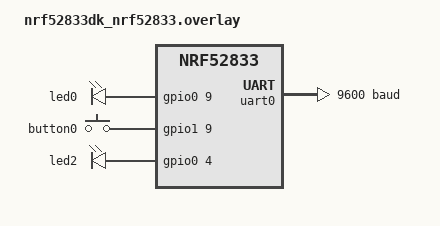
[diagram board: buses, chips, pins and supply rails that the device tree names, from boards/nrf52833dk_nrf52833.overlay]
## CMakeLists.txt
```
#
# Copyright (c) 2018 Nordic Semiconductor
#
# SPDX-License-Identifier: LicenseRef-Nordic-5-Clause
#
cmake_minimum_required(VERSION 3.20.0)

find_package(Zephyr REQUIRED HINTS $ENV{ZEPHYR_BASE})
project(NONE)

FILE(GLOB app_sources src/*.c)
target_sources(app PRIVATE ${app_sources})
```

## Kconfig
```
#
# Copyright (c) 2018 Nordic Semiconductor
#
# SPDX-License-Identifier: LicenseRef-Nordic-5-Clause
#

source "Kconfig.zephyr"

menu "Nordic UART BLE GATT service with beacon sample"

config FW_VERSION
	string "firmware version"
	default "1.0.0"
	help
	  Application firmware version. 

config BT_NUS_CRLF_UART_TERMINATION
	bool "Use CR or LF to terminate UART transactions"
	default y
	help
	  "Use CR or LF to terminate UART transactions. Disable to send data regardless after a timeout."

config BT_NUS_ADVERTISING_INTERVAL
	int "Advertising interval"
	default 500
	help
	  Advertising interval in milliseconds

config BT_NUS_THREAD_STACK_SIZE
	int "Thread stack size"
	default 1024
	help
	  Stack size used in each of the two threads

config BT_NUS_UART_BUFFER_SIZE
	int "UART payload buffer element size"
	default 40
	help
	  Size of the payload buffer in each RX and TX FIFO element

config BT_NUS_SECURITY_ENABLED
	bool "Enable security"
	default y
	select BT_SMP
	help
	  "Enable BLE security for the UART service"

config BT_NUS_UART_RX_WAIT_TIME
	int "Timeout for UART RX complete event"
	default 50000
	help
	  Wait for RX complete event time in microseconds

config BT_NUS_FIXED_PASSKEY
	int "Define the default passkey for NUS"
	depends on BT_FIXED_PASSKEY
	default 123456
	help
	  Define the default password for pairing with the Bluetooth LE device.

config SETTINGS
	default y

config ZMS
	default y if (SOC_FLASH_NRF_RRAM || SOC_FLASH_NRF_MRAM)

config NVS
	default y if !(SOC_FLASH_NRF_RRAM || SOC_FLASH_NRF_MRAM)

endmenu
```

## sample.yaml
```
sample:
  description: Bluetooth Low Energy UART service with beacon sample
  name: Bluetooth LE UART service with beacon
tests:
  sample.bluetooth.peripheral_uart:
    sysbuild: true
    build_only: true
    platform_allow: nrf54l15dk/nrf54l05/cpuapp nrf54l15dk/nrf54l10/cpuapp nrf54l15dk/nrf54l15/cpuapp
      nrf52833dk/nrf52833 nrf52840dk/nrf52840
```

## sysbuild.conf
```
#
# Copyright (c) 2024 Nordic Semiconductor
#
# SPDX-License-Identifier: LicenseRef-Nordic-5-Clause
#

SB_CONFIG_BOOTLOADER_MCUBOOT=y
SB_CONFIG_BOOT_SIGNATURE_TYPE_ECDSA_P256=y
SB_CONFIG_PM_OVERRIDE_EXTERNAL_DRIVER_CHECK=n
SB_CONFIG_PM_EXTERNAL_FLASH_MCUBOOT_SECONDARY=n

# SB_CONFIG_BOOT_SIGNATURE_TYPE_ED25519=y
# SB_CONFIG_MCUBOOT_SIGNATURE_USING_KMU=y
# SB_CONFIG_BOOT_SIGNATURE_TYPE_PURE=y
```

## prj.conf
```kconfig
#
# Copyright (c) 2018 Nordic Semiconductor
#
# SPDX-License-Identifier: LicenseRef-Nordic-5-Clause
#


CONFIG_FW_VERSION="1.3.1"
# Enable the UART driver
CONFIG_UART_ASYNC_API=y
CONFIG_NRFX_UARTE0=y
CONFIG_SERIAL=y
CONFIG_UART_USE_RUNTIME_CONFIGURE=y

CONFIG_GPIO=y

CONFIG_REBOOT=y

# Make sure printk is printing to the UART console
CONFIG_CONSOLE=y
CONFIG_UART_CONSOLE=y

CONFIG_HEAP_MEM_POOL_SIZE=10240

CONFIG_BT=y
CONFIG_BT_PERIPHERAL=y
CONFIG_BT_DEVICE_NAME="NB-nordic123"
CONFIG_BT_MAX_CONN=1
CONFIG_BT_MAX_PAIRED=16
CONFIG_BT_SMP_ALLOW_UNAUTH_OVERWRITE=y
CONFIG_BT_PHY_UPDATE=n
# CONFIG_BT_COMPANY_ID=0x0059
#Schneider Electric
CONFIG_BT_COMPANY_ID=0x02B6	


# Enable the NUS service
CONFIG_BT_NUS=y
CONFIG_BT_DEVICE_NAME_DYNAMIC=y
# Enable bonding
CONFIG_BT_SETTINGS=y
CONFIG_FLASH=y
CONFIG_FLASH_PAGE_LAYOUT=y
CONFIG_FLASH_MAP=y

# Enable DK LED and Buttons library
CONFIG_DK_LIBRARY=y

# This example requires more stack
CONFIG_MAIN_STACK_SIZE=2048
CONFIG_SYSTEM_WORKQUEUE_STACK_SIZE=4096

# mcuboot
CONFIG_BOOTLOADER_MCUBOOT=y
CONFIG_STREAM_FLASH=y
CONFIG_IMG_MANAGER=y
CONFIG_MCUBOOT_IMG_MANAGER=y
CONFIG_NCS_SAMPLE_MCUMGR_BT_OTA_DFU=y
# CONFIG_NCS_SAMPLE_MCUMGR_BT_OTA_DFU_SPEEDUP=y
# CONFIG_MCUMGR_GRP_ZBASIC_STORAGE_ERASE=n
CONFIG_MCUMGR_GRP_IMG_ALLOW_ERASE_PENDING=y
CONFIG_MCUMGR_TRANSPORT_BT_PERM_RW_AUTHEN=y


# Config logger
CONFIG_LOG=n
CONFIG_USE_SEGGER_RTT=y
CONFIG_LOG_BACKEND_RTT=y
CONFIG_LOG_BACKEND_UART=n
CONFIG_LOG_PRINTK=n

CONFIG_SEGGER_RTT_BUFFER_SIZE_UP=4096

# Disable boot banners to avoid anything printed on the UART that does not come over NUS
CONFIG_BOOT_BANNER=n
CONFIG_NCS_BOOT_BANNER=n

CONFIG_ASSERT=y

CONFIG_BT_BUF_ACL_RX_SIZE=502
CONFIG_BT_ATT_PREPARE_COUNT=2
CONFIG_BT_ATT_TX_COUNT=10
CONFIG_BT_L2CAP_TX_MTU=498
CONFIG_BT_L2CAP_DYNAMIC_CHANNEL=y
CONFIG_BT_CONN_TX_MAX=10
CONFIG_BT_BUF_ACL_TX_COUNT=10
CONFIG_BT_BUF_ACL_TX_SIZE=502


CONFIG_BT_NUS_AUTHEN=y
CONFIG_BT_FIXED_PASSKEY=y
CONFIG_BT_NUS_FIXED_PASSKEY=112233
CONFIG_BT_NUS_ADVERTISING_INTERVAL=500
CONFIG_BT_NUS_UART_BUFFER_SIZE=300
CONFIG_BT_CTLR_TX_PWR_PLUS_7=y
CONFIG_BT_NUS_CRLF_UART_TERMINATION=n
CONFIG_BT_CTLR_CONN_RSSI=y
CONFIG_BT_CTLR_TX_PWR_DYNAMIC_CONTROL=y
CONFIG_BT_TINYCRYPT_ECC=n 
CONFIG_BT_CTLR_ECDH=n
# CONFIG_BT_CTLR_ADVANCED_FEATURES=y

CONFIG_CLOCK_CONTROL_NRF_K32SRC_RC=y      
CONFIG_CLOCK_CONTROL_NRF_K32SRC_XTAL=n   
CONFIG_CLOCK_CONTROL_NRF_K32SRC_RC_CALIBRATION=y 


# CONFIG_CLOCK_CONTROL_NRF_K32SRC_RC=y      
# CONFIG_CLOCK_CONTROL_NRF_K32SRC_XTAL=n   
# CONFIG_CLOCK_CONTROL_NRF_K32SRC_RC_CALIBRATION=y 
```

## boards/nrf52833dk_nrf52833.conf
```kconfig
#
# Copyright (c) 2024 Nordic Semiconductor
#
# SPDX-License-Identifier: LicenseRef-Nordic-5-Clause
#
CONFIG_CLOCK_CONTROL_NRF_K32SRC_RC=y      
CONFIG_CLOCK_CONTROL_NRF_K32SRC_XTAL=n   
CONFIG_CLOCK_CONTROL_NRF_K32SRC_RC_CALIBRATION=y 
```

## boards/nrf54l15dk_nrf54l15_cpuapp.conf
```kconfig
#
# Copyright (c) 2024 Nordic Semiconductor
#
# SPDX-License-Identifier: LicenseRef-Nordic-5-Clause
#

# Disable the unspupported UART0 driver
CONFIG_NRFX_UARTE0=n

# nRF54L DK uses UART for logs.
CONFIG_SERIAL=y
CONFIG_CONSOLE=y
CONFIG_UART_CONSOLE=y

CONFIG_LOG=y
CONFIG_LOG_BACKEND_UART=y
CONFIG_LOG_BACKEND_SHOW_COLOR=n
CONFIG_LOG_BACKEND_FORMAT_TIMESTAMP=n
CONFIG_LOG_MODE_DEFERRED=y
CONFIG_LOG_PRINTK=y
CONFIG_LOG_BUFFER_SIZE=4096
CONFIG_LOG_PROCESS_THREAD_STACK_SIZE=1024
```

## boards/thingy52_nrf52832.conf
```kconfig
CONFIG_HEAP_MEM_POOL_SIZE=3072
# This example requires more stack
CONFIG_MAIN_STACK_SIZE=2048
CONFIG_SYSTEM_WORKQUEUE_STACK_SIZE=2048

#disable the log
CONFIG_LOG=n
CONFIG_LOG_BACKEND_UART=n
CONFIG_USE_SEGGER_RTT=n
```

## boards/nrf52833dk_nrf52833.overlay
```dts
/*
 * Copyright (c) 2024 Nordic Semiconductor ASA
 *
 * SPDX-License-Identifier: LicenseRef-Nordic-5-Clause
 */

 / {
	chosen {
		nordic,nus-uart = &uart0;
	};
};

&uart0 {
	current-speed = <9600>;
};

&uart0_default {
	/* Disconnect CTS and RTS lines from pins.
	 * This is a temporary workaround for increased current consumption
	 * observed on nRF52840 v3.0.0 only (~450 uA more then on v2.1.0).
	 */
	group1 {
		psels = <NRF_PSEL(UART_TX, 0, 17)>,
			<NRF_PSEL_DISCONNECTED(UART_RTS)>;
	};
	group2 {
		psels = <NRF_PSEL(UART_RX, 0, 15)>,
			<NRF_PSEL_DISCONNECTED(UART_CTS)>;
	};
};

&uart0_sleep {
	group1 {
		psels = <NRF_PSEL(UART_TX, 0, 17)>,
			<NRF_PSEL(UART_RX, 0, 15)>;
		low-power-enable;
	};
};

&led0 {
	gpios = <&gpio0 9 0>;
};

&button0 {
	gpios = <&gpio1 9 0>;
};

&reg1 {
	zephyr,deferred-init;
	regulator-initial-mode = <NRF5X_REG_MODE_LDO>;
};

&led2 {
	gpios = <&gpio0 4 0>;
};
```

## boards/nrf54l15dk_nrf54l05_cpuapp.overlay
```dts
/*
 * Copyright (c) 2024 Nordic Semiconductor ASA
 *
 * SPDX-License-Identifier: LicenseRef-Nordic-5-Clause
 */

 / {
	chosen {
		nordic,nus-uart = &uart30;
		zephyr,shell-uart = &uart20;
		zephyr,console = &uart20;
		zephyr,uart-mcumgr = &uart20;
		zephyr,bt-mon-uart = &uart20;
		zephyr,bt-c2h-uart = &uart20;
	};
};


&uart30 {
	status = "okay";
	current-speed = <9600>;
	pinctrl-0 = <&uart30_default>;
	pinctrl-1 = <&uart30_sleep>;
	pinctrl-names = "default", "sleep";
	/delete-property/ hw-flow-control;
};

// &uart20 {
// 	current-speed = <9600>;
// 	status = "okay";
// };
```

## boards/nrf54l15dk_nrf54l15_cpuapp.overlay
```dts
/*
 * Copyright (c) 2024 Nordic Semiconductor ASA
 *
 * SPDX-License-Identifier: LicenseRef-Nordic-5-Clause
 */

/ {
	chosen {
		nordic,nus-uart = &uart20;
		zephyr,shell-uart = &uart30;
		zephyr,console = &uart30;
		zephyr,uart-mcumgr = &uart30;
		zephyr,bt-mon-uart = &uart30;
		zephyr,bt-c2h-uart = &uart30;
	};
};


&uart30 {
	status = "okay";
	current-speed = <115200>;
	pinctrl-0 = <&uart30_default>;
	pinctrl-1 = <&uart30_sleep>;
	pinctrl-names = "default", "sleep";
	/delete-property/ hw-flow-control;
};


&uart20 {
	current-speed = <9600>;
};
```

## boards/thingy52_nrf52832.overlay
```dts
/*
 * Copyright (c) 2024 Nordic Semiconductor ASA
 *
 * SPDX-License-Identifier: LicenseRef-Nordic-5-Clause
 */

/ {
	chosen {
		nordic,nus-uart = &uart0;
	};
};

&uart0 {
	current-speed = <9600>;
};
```

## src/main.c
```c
/*
 * Copyright (c) 2025 Nordic Semiconductor ASA
 *
 * SPDX-License-Identifier: LicenseRef-Nordic-5-Clause
 */

/** @file
 *  @brief Nordic UART Bridge Service (NUS) with beacon sample
 */
// #include <uart_async_adapter.h>

#include <zephyr/types.h>
#include <zephyr/kernel.h>
#include <zephyr/device.h>
#include <zephyr/devicetree.h>
#include <soc.h>
#include <stdio.h>
#include <string.h>
#include <zephyr/logging/log.h>

#include "ble_app.h"
#include "uart_app.h"
#include "nus_setting_app.h"

LOG_MODULE_REGISTER(peripheral_uart);


#define STACKSIZE 						2048
#define PRIORITY 						7

#define RUN_STATUS_LED 					DK_LED1
#define RUN_LED_BLINK_INTERVAL 			1000

#define NUS_TRANSPARENT_MODE 			DK_BTN1_MSK
#define KEY_PASSKEY_REJECT 				DK_BTN2_MSK


struct k_work transparent_buffer_work;

void error(void)
{
	LOG_ERR("Panic!");

	while (true) {
		/* Spin for ever */
		k_sleep(K_MSEC(1000));
	}
}


static void button_changed(uint32_t button_state, uint32_t has_changed)
{
	uint32_t buttons = button_state & has_changed;

	if (buttons & NUS_TRANSPARENT_MODE) {
		/* On button press */
		transparent_flag = false;
		k_work_submit(&transparent_buffer_work);
	}
	else
	{
		/* On button press */
		if(!transparent_flag)
		{
			transparent_flag = true;
			k_work_submit(&transparent_buffer_work);
		}
	}
}

static void configure_gpio(void)
{
	int err;

	err = dk_buttons_init(button_changed);
	if (err) {
		LOG_ERR("Cannot init buttons (err: %d)", err);
	}

	err = dk_leds_init();
	if (err) {
		LOG_ERR("Cannot init LEDs (err: %d)", err);
	}
}


static void handle_nus_buffer_data(struct k_work *work)
{
	
	// if(transparent_flag && is_ble_paired())
	if(transparent_flag)
	{
		uart_send_URC(BLE_ENTER_TRANSPARENT_MODE_URC, BLE_URC_LENGTH);
		// uart_send_data(NULL);
	}
	else
	{
		uart_send_URC(BLE_EXIT_TRANSPARENT_MODE_URC, BLE_URC_LENGTH);
	}

	// ble disconnect, clean the transparent buffer data
	if(is_ble_paired() == false)
	{
		clean_nus_buffer_data();
	}
}


int main(void)
{
	int blink_status = 0;
	int err = 0;

	LOG_INF("NUS Beacon sample started, the version is %s", CONFIG_FW_VERSION);

	configure_gpio();

	nus_settings_init();

	err = uart_init();
	if (err) {
		error();
	}

	err = nus_ble_init();
	if (err) {
		error();
	}

	k_work_init(&transparent_buffer_work, handle_nus_buffer_data);

	for (;;) {
		dk_set_led(RUN_STATUS_LED, (++blink_status) % 2);
		k_sleep(K_MSEC(RUN_LED_BLINK_INTERVAL));
	}
}



void ble_write_thread(void)
{
	/* Don't go any further until BLE is initialized */
	k_sem_take(&ble_init_ok, K_FOREVER);

	// int ret = 0;
	// nus_data_t send_packet = {0};
	// static uint8_t resend_count = 0;
	struct uart_data_t uart_data = {
		.len = 0,
	};

	for (;;) 
	{
		/* Wait 300 for data from UART to be processed */
		struct uart_data_t *buf = k_fifo_get(&fifo_uart_rx_data, K_FOREVER);
		if(buf)
		{
			int plen = MIN(sizeof(uart_data.data) - uart_data.len, buf->len);
			int loc = 0;

			while (plen > 0) {
				memcpy(&uart_data.data[uart_data.len], &buf->data[loc], plen);
				uart_data.len += plen;
				loc += plen;
	#ifdef CONFIG_BT_NUS_CRLF_UART_TERMINATION
				if (uart_data.len >= sizeof(uart_data.data) ||
				(uart_data.data[uart_data.len - 1] == '\n') ||
				(uart_data.data[uart_data.len - 1] == '\r')) {
	#endif
					if(!transparent_flag)
					{
						handle_uart_data(&uart_data);		//handle uart command from host mcu
					}
					else
					{
						// on_packet_nus_data(uart_data.data, uart_data.len);
						ble_send_uart_data(uart_data.data, uart_data.len);
					}
					
					uart_data.len = 0;
	#ifdef CONFIG_BT_NUS_CRLF_UART_TERMINATION
				}
	#endif
				plen = MIN(sizeof(uart_data.data), buf->len - loc);
			}

			k_free(buf);
		}

		/* check if there are data need to be sent over bluetooth */
		// if (k_msgq_peek(&tx_send_queue, &send_packet) == 0)  
		// {
		// 	// LOG_INF("[%d]:%s\n",send_packet.length, send_packet.data);
		// 	ret = ble_send_uart_data(&send_packet);
		// 	// ret = uart_send_data(tx);
		// 	if(0 == ret)
		// 	{
		// 		/* send successfully, delete the queue message and free memory */
		// 		k_msgq_get(&tx_send_queue, &send_packet, K_NO_WAIT);
		// 		k_free(send_packet.data);
		// 		resend_count = 0;
		// 		// LOG_HEXDUMP_INF(send_packet.data, send_packet.length, "NUS send:\n");
		// 	}
		// 	else if(ret == -ENOTCONN)
		// 	{
		// 		// LOG_WRN("BLE is not connected, we need to reconnect it\n");
		// 	}
		// 	else
		// 	{
		// 		if(resend_count++ >= 3)
		// 		{
		// 			/* send failed, we need to wait more time */
		// 			LOG_WRN("BLE send failed, will resend it.\n");
		// 		}
		// 	}
		// }
	}
}

K_THREAD_DEFINE(ble_write_thread_id, STACKSIZE, ble_write_thread, NULL, NULL,
		NULL, PRIORITY, 0, 0);
```

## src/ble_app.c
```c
#include <zephyr/bluetooth/bluetooth.h>
#include <zephyr/bluetooth/uuid.h>
#include <zephyr/bluetooth/gatt.h>
#include <zephyr/bluetooth/hci.h>
#include <bluetooth/services/nus.h>
#include <zephyr/settings/settings.h>
#include <bluetooth/services/nus.h>
#include <zephyr/sys/byteorder.h>
#include <zephyr/kernel.h>
#include <zephyr/logging/log.h>
#include <zephyr/types.h>
#include <zephyr/bluetooth/hci_vs.h>

#include "ble_app.h"
#include "uart_app.h"
#include "nus_setting_app.h"
#include "error_code.h"

LOG_MODULE_DECLARE(peripheral_uart);


#define NUS_THREAD_STACK_SIZE               4096
#define NUS_THREAD_PRIORITY 				7

#define TX_QUEUE_COUNT						20

K_SEM_DEFINE(ble_init_ok, 0, 1);

static struct bt_conn *auth_conn;
static struct k_work advertise_start_work;

static bt_addr_le_t bond_addr;

bool name_changed = false;

struct bt_conn *current_conn;

uint8_t manuf_size = 0;
unsigned int cur_passkey = CONFIG_BT_NUS_FIXED_PASSKEY;
int8_t last_rssi = 0;

char device_name[MAX_NAME_LEN+1] = DEVICE_NAME;
uint8_t dynamic_manuf_data[DYNAMIC_MANUF_DATA_SIZE + COMPANY_ID_SIZE] = 
	{CONFIG_BT_COMPANY_ID & 0xFF, CONFIG_BT_COMPANY_ID >> 8};

static const struct bt_data ad[] = {
	BT_DATA_BYTES(BT_DATA_FLAGS, (BT_LE_AD_GENERAL | BT_LE_AD_NO_BREDR)),
	BT_DATA_BYTES(BT_DATA_UUID128_ALL, BT_UUID_NUS_VAL),
	BT_DATA(BT_DATA_NAME_COMPLETE, device_name, DEVICE_NAME_LEN),
};


// static struct bt_data sd[] = {
// 	BT_DATA(BT_DATA_NAME_COMPLETE, device_name, DEVICE_NAME_LEN),
// 	BT_DATA(BT_DATA_MANUFACTURER_DATA, dynamic_manuf_data, sizeof(dynamic_manuf_data)),
// };

static void advertise_start_without_sd(struct k_work *work)
{
	int err;
	struct bt_le_adv_param adv_params = *(BT_LE_ADV_CONN_ONE_TIME);
	adv_params.interval_min = CONFIG_BT_NUS_ADVERTISING_INTERVAL;
	adv_params.interval_max = CONFIG_BT_NUS_ADVERTISING_INTERVAL; 

	if (manuf_size > 0) {
		uint8_t name_len = MIN(strlen(device_name), MAX_NAME_LEN);

		struct bt_data new_ad[] = {
			BT_DATA(BT_DATA_NAME_COMPLETE, device_name, name_len),
			BT_DATA(BT_DATA_MANUFACTURER_DATA, dynamic_manuf_data, manuf_size + COMPANY_ID_SIZE),
		};
		err = bt_le_adv_start(&adv_params, new_ad, ARRAY_SIZE(new_ad), NULL, 0);
	}
	else
	{
		if(name_changed)
		{
			uint8_t name_len = MIN(strlen(device_name), MAX_NAME_LEN);

			struct bt_data new_ad[] = {
				BT_DATA(BT_DATA_NAME_COMPLETE, device_name, name_len),
				// BT_DATA(BT_DATA_MANUFACTURER_DATA, dynamic_manuf_data, manuf_size + COMPANY_ID_SIZE),
			};
			err = bt_le_adv_start(&adv_params, new_ad, ARRAY_SIZE(new_ad), NULL, 0);
		}
		else
		{
			err = bt_le_adv_start(&adv_params, ad, ARRAY_SIZE(ad), NULL, 0);
		}
	}

	if (err) {
		LOG_ERR("Advertising failed to start (err %d)", err);
		return;
	}

	set_device_status(STATUS_ADVERTISING, 1);    //set the device status to advertising

	LOG_INF("Advertising successfully started");
}


int update_adv_param(uint8_t interval)
{
	int err;
	struct bt_le_adv_param adv_params = *(BT_LE_ADV_CONN_ONE_TIME);
	adv_params.interval_min = 32*interval;
	adv_params.interval_max = 32*interval; 

	err = bt_le_adv_stop();
	if (err != 0) {
		LOG_ERR("Cannot stop advertisement: err = %d\n", err);
		return err;
	}

	if (manuf_size > 0) {
		uint8_t name_len = MIN(strlen(device_name), MAX_NAME_LEN);

		struct bt_data new_ad[] = {
			BT_DATA(BT_DATA_NAME_COMPLETE, device_name, name_len),
			BT_DATA(BT_DATA_MANUFACTURER_DATA, dynamic_manuf_data, manuf_size + COMPANY_ID_SIZE),
		};
		err = bt_le_adv_start(&adv_params, new_ad, ARRAY_SIZE(new_ad), NULL, 0);
	}
	else
	{
		if(name_changed)
		{
			uint8_t name_len = MIN(strlen(device_name), MAX_NAME_LEN);

			struct bt_data new_ad[] = {
				BT_DATA(BT_DATA_NAME_COMPLETE, device_name, name_len),
				// BT_DATA(BT_DATA_MANUFACTURER_DATA, dynamic_manuf_data, manuf_size + COMPANY_ID_SIZE),
			};
			err = bt_le_adv_start(&adv_params, new_ad, ARRAY_SIZE(new_ad), NULL, 0);
		}
		else
		{
			err = bt_le_adv_start(&adv_params, ad, ARRAY_SIZE(ad), NULL, 0);
		}
	}

	if (err) {
		LOG_ERR("Advertising failed to start (err %d)", err);
	}
	return err;

	set_device_status(STATUS_ADVERTISING, 1);    //set the device status to advertising

	LOG_INF("Advertising successfully started");
}



int start_stop_advertise(uint8_t cmd)
{
	int err = 0;
	// LOG_INF("Advertising cmd is:%d\n", cmd);
	if (cmd) 
	{
		if(!is_ble_advertising())
		{
			k_work_submit(&advertise_start_work);
		}
		else
		{
			return 0;
		}
	} 
	else 
	{
		if(is_ble_advertising())
		{
			err = bt_le_adv_stop();
			if (!err) {
				set_device_status(STATUS_ADVERTISING, 0);    //clean the advertising status
			}
			else
			{
				LOG_ERR("Failed to stop advertising: %d", err);
			}
		}
		else
		{
			return 0;
		}
	}
	return err;
}


static void copy_last_bonded_addr(const struct bt_bond_info *info, void *user_data)
{
	int *bond_cnt = user_data;

	if ((*bond_cnt) < 0) {
		return;
	}

	(*bond_cnt)++;
	bt_addr_le_copy(&bond_addr, &info->addr);
}



static int list_bond_device(void)
{
	int bond_cnt = 0;

	bt_foreach_bond(BT_ID_DEFAULT, copy_last_bonded_addr, &bond_cnt);

	return bond_cnt;
}


int get_last_bonded_addr(uint8_t *addr)
{
	uint8_t cnt = list_bond_device();
	if(cnt)
	{
		memcpy(addr, bond_addr.a.val, sizeof(bond_addr.a.val));
		LOG_INF("Last bonded addr: %02x:%02x:%02x:%02x:%02x:%02x", addr[0], addr[1], addr[2], addr[3], addr[4], addr[5]);
		return 0;
	}
	else
	{
		memset(bond_addr.a.val, 0,  sizeof(bond_addr.a.val));
		LOG_ERR("No bonded device found\n");
	}
	
	return 0;
}



static void connected(struct bt_conn *conn, uint8_t err)
{
	char addr[BT_ADDR_LE_STR_LEN];
	int8_t rssi;

	if (err) {
		LOG_ERR("Connection failed, err 0x%02x %s", err, bt_hci_err_to_str(err));
		return;
	}

	bt_addr_le_to_str(bt_conn_get_dst(conn), addr, sizeof(addr));
	LOG_INF("Connected %s", addr);

	current_conn = bt_conn_ref(conn);
	read_conn_rssi(&rssi);

	dk_set_led_on(CON_STATUS_LED);

	// uart_send_URC("CONNECTED", strlen("CONNECTED"));
	if(!transparent_flag)
	{
		uart_send_URC(BLE_CONNECTED_URC, BLE_URC_LENGTH);
	}
	
	set_device_status(STATUS_CONNECTED, 1);    //set the device status to connected
	set_device_status(STATUS_ADVERTISING, 0);    //clean the advertising status
}


extern struct k_work transparent_buffer_work;
static void disconnected(struct bt_conn *conn, uint8_t reason)
{
	char addr[BT_ADDR_LE_STR_LEN];

	bt_addr_le_to_str(bt_conn_get_dst(conn), addr, sizeof(addr));

	LOG_INF("Disconnected: %s, reason 0x%02x %s", addr, reason, bt_hci_err_to_str(reason));

	if (auth_conn) {
		bt_conn_unref(auth_conn);
		auth_conn = NULL;
	}


	if (current_conn) {
		bt_conn_unref(current_conn);
		current_conn = NULL;
		dk_set_led_off(CON_STATUS_LED);
	}
	
	// uart_send_URC("DISCONNECTED", strlen("DISCONNECTED"));
	uart_send_URC(BLE_DISCONNECTED_URC, BLE_URC_LENGTH);
	set_device_status(STATUS_CONNECTED | STATUS_PAIRED, 0);    //set the device status to disconnected
	erase_bond_peer();
	k_work_submit(&transparent_buffer_work);
}


#ifdef CONFIG_BT_NUS_SECURITY_ENABLED
static void security_changed(struct bt_conn *conn, bt_security_t level,
			     enum bt_security_err err)
{
	char addr[BT_ADDR_LE_STR_LEN];

	bt_addr_le_to_str(bt_conn_get_dst(conn), addr, sizeof(addr));

	if (!err) {
		// uart_send_URC(BLE_PAIRED_URC, BLE_URC_LENGTH);
		set_device_status(STATUS_PAIRED, 1);    //set the device status to paired and bonded
		LOG_INF("Security changed: %s level %u", addr, level);
	} else {
		LOG_WRN("Security failed: %s level %u err %d %s", addr, level, err,
			bt_security_err_to_str(err));
	}
}
#endif

static void on_conn_recycled(void)
{
	k_work_submit(&advertise_start_work);
}

BT_CONN_CB_DEFINE(conn_callbacks) = {
	.connected    = connected,
	.disconnected = disconnected,
	.recycled     = on_conn_recycled,
#ifdef CONFIG_BT_NUS_SECURITY_ENABLED
	.security_changed = security_changed,
#endif
};

#if defined(CONFIG_BT_NUS_SECURITY_ENABLED)
// static void auth_passkey_entry(struct bt_conn *conn)
// {
//     char addr[BT_ADDR_LE_STR_LEN];
//     bt_addr_le_to_str(bt_conn_get_dst(conn), addr, sizeof(addr));

//     LOG_INF("Passkey entered %s: %06u", addr, passkey);
// }

static void auth_passkey_display(struct bt_conn *conn, unsigned int passkey)
{
	char addr[BT_ADDR_LE_STR_LEN];

	bt_addr_le_to_str(bt_conn_get_dst(conn), addr, sizeof(addr));
	cur_passkey = passkey;
	LOG_INF("Passkey for %s: %06u", addr, passkey);
}

// static void auth_passkey_confirm(struct bt_conn *conn, unsigned int passkey)
// {
// 	char addr[BT_ADDR_LE_STR_LEN];

// 	auth_conn = bt_conn_ref(conn);

// 	bt_addr_le_to_str(bt_conn_get_dst(conn), addr, sizeof(addr));

// 	LOG_INF("Passkey for %s: %06u", addr, passkey);
// }

static void auth_cancel(struct bt_conn *conn)
{
	char addr[BT_ADDR_LE_STR_LEN];

	bt_addr_le_to_str(bt_conn_get_dst(conn), addr, sizeof(addr));

	LOG_INF("Pairing cancelled: %s", addr);
}


static void pairing_complete(struct bt_conn *conn, bool bonded)
{
	char addr[BT_ADDR_LE_STR_LEN];

	bt_addr_le_to_str(bt_conn_get_dst(conn), addr, sizeof(addr));

	uart_send_URC(BLE_PAIRED_URC, BLE_URC_LENGTH);
	if(bonded)
		set_device_status(STATUS_PAIRED | STATUS_BONDED, 1);    //set the device status to paired and bonded
	else
		set_device_status(STATUS_PAIRED, 1);    //set the device status to paired

	LOG_INF("Pairing completed: %s, bonded: %d", addr, bonded);
}



static void pairing_failed(struct bt_conn *conn, enum bt_security_err reason)
{
	char addr[BT_ADDR_LE_STR_LEN];

	bt_addr_le_to_str(bt_conn_get_dst(conn), addr, sizeof(addr));

	LOG_INF("Pairing failed conn: %s, reason %d %s", addr, reason,
		bt_security_err_to_str(reason));

}

static struct bt_conn_auth_cb conn_auth_callbacks = {
	.passkey_display = auth_passkey_display,
	// .passkey_confirm = auth_passkey_confirm,
	.cancel = auth_cancel,
};

static struct bt_conn_auth_info_cb conn_auth_info_callbacks = {
	.pairing_complete = pairing_complete,
	.pairing_failed = pairing_failed
};

int bt_passkey_entry(unsigned int passkey)
{
	// return bt_conn_auth_passkey_entry(current_conn, passkey);
	return bt_passkey_set(passkey);
}
#else
static struct bt_conn_auth_cb conn_auth_callbacks;
static struct bt_conn_auth_info_cb conn_auth_info_callbacks;
#endif

static void bt_receive_cb(struct bt_conn *conn, const uint8_t *const data,
			  uint16_t len)
{
	char addr[BT_ADDR_LE_STR_LEN] = {0};

	bt_addr_le_to_str(bt_conn_get_dst(conn), addr, ARRAY_SIZE(addr));

	LOG_INF("Received data from: %s", addr);

	for (uint16_t pos = 0; pos != len;) {
		struct uart_data_t *tx = k_malloc(sizeof(*tx));

		if (!tx) {
			LOG_WRN("Not able to allocate UART send data buffer");
			return;
		}

		/* Keep the last byte of TX buffer for potential LF char. */
		size_t tx_data_size = sizeof(tx->data) - 1;

		if ((len - pos) > tx_data_size) {
			tx->len = tx_data_size;
		} else {
			tx->len = (len - pos);
		}

		memcpy(tx->data, &data[pos], tx->len);

		pos += tx->len;

		/* Append the LF character when the CR character triggered
		 * transmission from the peer.
		 */
		if ((pos == len) && (data[len - 1] == '\r')) {
			tx->data[tx->len] = '\n';
			tx->len++;
		}

		if(transparent_flag)
		{
			uart_send_data(tx);
		}
		else
		{
			uart_buffer_data(tx);
		}
	}
}

static struct bt_nus_cb nus_cb = {
	.received = bt_receive_cb,
};


bool is_ble_paired(void)
{
	if (get_device_status() & STATUS_PAIRED) {
		return true;
	}
	else
	{
		return false;
	}
}


bool is_ble_advertising(void)
{
	if (get_device_status() & STATUS_ADVERTISING) {
		return true;
	}
	else
	{
		return false;
	}
}


int update_advertising(void)
{
	int err = 0;
	uint8_t name_len = MIN(strlen(device_name), MAX_NAME_LEN);

	if (manuf_size > 0) 
	{
		manuf_size = MIN(DYNAMIC_MANUF_DATA_SIZE - strlen(device_name), manuf_size);
		struct bt_data new_ad[] = {
			BT_DATA(BT_DATA_NAME_COMPLETE, device_name, name_len),
			BT_DATA(BT_DATA_MANUFACTURER_DATA, dynamic_manuf_data, manuf_size + COMPANY_ID_SIZE),
		};
		err = bt_le_adv_update_data(new_ad, ARRAY_SIZE(new_ad), NULL, 0);
		LOG_INF("Update advertise payload[%d]: %s\n", manuf_size, dynamic_manuf_data + COMPANY_ID_SIZE);
	}
	else
	{
		struct bt_data new_ad[] = {
			BT_DATA(BT_DATA_NAME_COMPLETE, device_name, name_len),
			// BT_DATA(BT_DATA_MANUFACTURER_DATA, dynamic_manuf_data, manuf_size + COMPANY_ID_SIZE),
		};
		err = bt_le_adv_update_data(new_ad, ARRAY_SIZE(new_ad), NULL, 0);
	}

	return err;
}


int ble_send_uart_data(uint8_t *buffer, uint16_t length)
{
	int err = 0;

	if (is_ble_paired()) 
	{
		/* In a connection - send data via NUS */
		err = bt_nus_send(NULL, buffer, length);
		if (err) {
			LOG_WRN("Failed to send data over BLE connection: %d", err);
		}
		else
		{
			LOG_HEXDUMP_INF(buffer, length, "NUS send:\n");
		}
	} 
	else 
	{
		err = -ENOTCONN;
		LOG_WRN("Not in a connection, drop data!");
	}

	return err;
}


int disconnect_ble(void)
{ 
	int err = 0;
	if (current_conn) {
		err = bt_conn_disconnect(current_conn, BT_HCI_ERR_REMOTE_USER_TERM_CONN);
		if (err) {
			LOG_ERR("Failed to disconnect Bluetooth link (err %d)\n", err);
		}
	}
	else
	{
		err = -ENOTCONN;
	}
	return err;
}

int set_ble_device_name(char *name)
{
	int err = 0;
	if (strlen(name) > MAX_NAME_LEN) {
		LOG_WRN("Device name too long. Max length is 15 characters.");
		err = -EINVAL;
	}

	LOG_INF("Device name set to: %s", name);
	name_changed = true;
	err = bt_set_name(name);
	
	return err;
}

#if 1
int set_ble_mac_address(uint8_t  *val, uint8_t len)
{
	if (len != BT_ADDR_SIZE) {
		LOG_WRN("Invalid passkey length");
		return -EINVAL;
	}

	bt_addr_le_t custom_addr = {
		.type = BT_ADDR_LE_RANDOM,
	};
	memcpy(custom_addr.a.val, val, sizeof(custom_addr.a.val));

	int err = bt_id_create(&custom_addr, NULL);
	if (err) {
		LOG_ERR("Failed to set custom MAC address (err %d)\n", err);
	}
	return err;
}
#else
int set_ble_mac_address(uint8_t  *val, uint8_t len)
{
	if (len != BT_ADDR_SIZE) {
		LOG_WRN("Invalid passkey length");
		return -EINVAL;
	}

	int err = 0;
	struct net_buf *buf;
	struct bt_hci_cp_vs_write_bd_addr *cp;

	buf = bt_hci_cmd_create(BT_HCI_OP_VS_WRITE_BD_ADDR, sizeof(*cp));
	if (!buf) {
		return -ENOBUFS;
	}

	cp = net_buf_add(buf, sizeof(*cp));
	memcpy(cp->bdaddr.val, val, BT_ADDR_SIZE);

	err = bt_hci_cmd_send_sync(BT_HCI_OP_VS_WRITE_BD_ADDR, buf, NULL);
	if (err) {
		LOG_ERR("Failed to set custom MAC address (err %d)\n", err);
		return err;
	}

	err = bt_setup_public_id_addr();
	if (err) {
		LOG_ERR("Failed to set public address (err %d)\n", err);
		return err;
	}

	return err;
}
#endif

// int set_ble_parameter()
int set_ble_tx_power(int8_t tx_pwr_lvl)
{
	struct net_buf *buf, *rsp = NULL;
	struct bt_hci_cp_vs_write_tx_power_level *cp;
	struct bt_hci_rp_vs_write_tx_power_level *rp;

    int16_t err;
	uint16_t cur_handle = 0;

    buf = bt_hci_cmd_create(BT_HCI_OP_VS_WRITE_TX_POWER_LEVEL, sizeof(*cp));
    if (!buf) {
        LOG_ERR("Unable to allocate command buffer\n");
        return -ENOBUFS;
    }

    cp = net_buf_add(buf, sizeof(*cp));
    cp->handle = sys_cpu_to_le16(cur_handle);
	cp->handle_type = BT_HCI_VS_LL_HANDLE_TYPE_ADV;
	cp->tx_power_level = tx_pwr_lvl;

    err = bt_hci_cmd_send_sync(BT_HCI_OP_VS_WRITE_TX_POWER_LEVEL, buf, &rsp);
    if (err) {
        LOG_ERR("Set Tx power to <%d> err: %d\n", tx_pwr_lvl,err);
        return err;
    }

    rp = (void *)rsp->data;
    LOG_INF("Actual Tx Power: %d\n", rp->selected_tx_power);

    net_buf_unref(rsp);
	return err;
}


int get_ble_tx_power(int8_t *tx_pwr_lvl)
{
	struct bt_hci_cp_vs_read_tx_power_level *cp;
	struct bt_hci_rp_vs_read_tx_power_level *rp;
	struct net_buf *buf, *rsp = NULL;
	int err = 0;
	uint16_t cur_handle = 0;

	*tx_pwr_lvl = 0xFF;
	buf = bt_hci_cmd_create(BT_HCI_OP_VS_READ_TX_POWER_LEVEL,
				sizeof(*cp));
	if (!buf) {
		LOG_ERR("Unable to allocate command buffer\n");
		return ENOBUFS;
	}

	cp = net_buf_add(buf, sizeof(*cp));
	cp->handle = sys_cpu_to_le16(cur_handle);
	cp->handle_type = BT_HCI_VS_LL_HANDLE_TYPE_ADV;

	err = bt_hci_cmd_send_sync(BT_HCI_OP_VS_READ_TX_POWER_LEVEL,
				   buf, &rsp);
	if (err) {
		LOG_ERR("Read Tx power err: %d\n", err);
		return err;
	}

	rp = (void *)rsp->data;
	*tx_pwr_lvl = rp->tx_power_level;

	net_buf_unref(rsp);
	return err;
}


int get_ble_mac_address(uint8_t *val)
{
	bt_addr_le_t addrs[CONFIG_BT_ID_MAX];
	size_t count = CONFIG_BT_ID_MAX;

	bt_id_get(addrs, &count);
	if (count > 0) {
		// for(uint8_t i = 0; i < BT_ADDR_SIZE; i++)
		// {
		// 	*(val + i) = addrs[0].a.val[BT_ADDR_SIZE -1 -i];
		// }
		memcpy(val, addrs[0].a.val, sizeof(addrs[0].a.val));
		return 0;
	}
	return -ENODATA;
}

int erase_bond_peer(void)
{
	int err = bt_unpair(BT_ID_DEFAULT, BT_ADDR_LE_ANY);
	if (err) {
		LOG_INF("Cannot delete bond (err: %d)\n", err);
	}
	return err;
}


int16_t read_conn_rssi(int8_t *rssi)
{
    struct net_buf *buf, *rsp = NULL;
    struct bt_hci_cp_read_rssi *cp;
    struct bt_hci_rp_read_rssi *rp;

    int16_t err;
	uint16_t conn_handle;
	bt_hci_get_conn_handle(current_conn, &conn_handle);

    buf = bt_hci_cmd_create(BT_HCI_OP_READ_RSSI, sizeof(*cp));
    if (!buf) {
        LOG_ERR("Unable to allocate command buffer\n");
        return -ENOBUFS;
    }

    cp = net_buf_add(buf, sizeof(*cp));
    cp->handle = sys_cpu_to_le16(conn_handle);

    err = bt_hci_cmd_send_sync(BT_HCI_OP_READ_RSSI, buf, &rsp);
    if (err) {
        uint8_t reason = rsp ?
            ((struct bt_hci_rp_read_rssi *)rsp->data)->status : 0;
        LOG_ERR("Read RSSI err: %d reason 0x%02x\n", err, reason);
        return err;
    }

    rp = (void *)rsp->data;
    *rssi = rp->rssi;
	last_rssi = *rssi;

    net_buf_unref(rsp);
	return err;
}



int nus_ble_init(void)
{
    int err;

    if (IS_ENABLED(CONFIG_BT_NUS_SECURITY_ENABLED)) {
		err = bt_conn_auth_cb_register(&conn_auth_callbacks);
		if (err) {
			printk("Failed to register authorization callbacks.\n");
			return err;
		}

		err = bt_conn_auth_info_cb_register(&conn_auth_info_callbacks);
		if (err) {
			printk("Failed to register authorization info callbacks.\n");
			return err;
		}
	}

	k_work_init(&advertise_start_work, advertise_start_without_sd);

	uint8_t *mac_val = get_mac_address();
	if(mac_val && mac_val[0] != 0)
	{
		set_ble_mac_address(mac_val, BT_ADDR_SIZE);
	}

    err = bt_enable(NULL);
	if (err) {
		printk("Failed to enable ble stack!.\n");
		return err;
	}
	
   
	LOG_INF("Bluetooth initialized");

	k_sem_give(&ble_init_ok);

	if (IS_ENABLED(CONFIG_SETTINGS)) {
		settings_load();
	}

	err = bt_nus_init(&nus_cb);
	if (err) {
		LOG_ERR("Failed to initialize UART service (err: %d)", err);
		return err;
	}

#if defined(CONFIG_BT_FIXED_PASSKEY)
	if (bt_passkey_set(CONFIG_BT_NUS_FIXED_PASSKEY) != 0)
		return false;
#endif

	k_work_submit(&advertise_start_work);

    return err;
}
```

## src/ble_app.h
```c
/*
 * Copyright (c) 2018 Nordic Semiconductor ASA
 *
 * SPDX-License-Identifier: LicenseRef-Nordic-5-Clause
 */

#ifndef __BLE_APP_H_
#define __BLE_APP_H_

#include <zephyr/kernel.h>
#include <dk_buttons_and_leds.h>



#define DEVICE_NAME 					CONFIG_BT_DEVICE_NAME
#define DEVICE_NAME_LEN					(sizeof(DEVICE_NAME) - 1)

#define MAX_NAME_LEN 				    15
#define DYNAMIC_MANUF_DATA_SIZE 		25
#define COMPANY_ID_SIZE					2
#define PASSKEY_ENTRY_LENGTH            6

#define CON_STATUS_LED 					DK_LED2


/** unsolicated response */
#define BLE_URC_LENGTH				    0x01        //length of unsolicated response

#define BLE_READY_URC				    0x01        //ble ready after device reboot
#define BLE_CONNECTED_URC				0x02        //BLE connect successfully
#define BLE_DISCONNECTED_URC			0x03        //BLE disconnect
#define BLE_PAIRED_URC			        0x04        //BLE paired
#define BLE_INCOMING_NUS_URC			0x05        //Received NUS data from app
#define BLE_ENTER_TRANSPARENT_MODE_URC	0x06        //the NRF5 device enter transparent mode successfully 
#define BLE_EXIT_TRANSPARENT_MODE_URC	0x07        //the NRF5 device exit transparent mode successfully 


// typedef struct {
// 	uint8_t *data;
// 	uint16_t length;
// } nus_data_t;


extern struct k_sem ble_init_ok;



extern uint8_t manuf_size;
extern unsigned int cur_passkey;
extern int8_t last_rssi;
extern char device_name[MAX_NAME_LEN+1];
extern uint8_t dynamic_manuf_data[DYNAMIC_MANUF_DATA_SIZE + COMPANY_ID_SIZE];

extern int nus_ble_init(void);

extern bool is_ble_paired(void);

extern bool is_ble_advertising(void);

extern int update_advertising(void);

extern int start_stop_advertise(uint8_t cmd);

extern int get_last_bonded_addr(uint8_t *addr);

extern int ble_send_uart_data(uint8_t *buffer, uint16_t length);

extern int disconnect_ble(void);

extern int erase_bond_peer(void);

extern int set_ble_device_name(char *name);

extern int update_adv_param(uint8_t interval);

extern int set_ble_tx_power(int8_t tx_pwr_lvl);

extern int get_ble_tx_power(int8_t *tx_pwr_lvl);

extern int set_ble_mac_address(uint8_t  *val, uint8_t len);

extern int get_ble_mac_address(uint8_t *val);

extern int16_t read_conn_rssi(int8_t *rssi);

#if defined(CONFIG_BT_NUS_SECURITY_ENABLED)
int bt_passkey_entry(unsigned int passkey);
#endif


#endif
```

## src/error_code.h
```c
/*
 * Copyright (c) 2018 Nordic Semiconductor ASA
 *
 * SPDX-License-Identifier: LicenseRef-Nordic-5-Clause
 */

/**
 * @file
 * @brief application error codes
 */

#ifndef __NUS_ERROR_CODE_H_
#define __NUS_ERROR_CODE_H_

/**
 * @brief application error numbers
 *        Error codes returned by functions.
 * @defgroup system_errno Error numbers
 * @{
 */

#ifdef __cplusplus
extern "C" {
#endif

#define SUCCEED 0      /**< No error, excute success */

#define ENOCMD  150          /**< Invalid Command */
#define EOPFAIL 151          /**< Operation failed */
#define ENORDY  152          /**< Trying sending data when NUS is not ready */

// #define EPERM 1		   /* Not owner */
// #define ENOENT 2        /**< No such file or directory */
// #define ESRCH 3         /**< No such context */
// #define EINTR 4         /**< Interrupted system call */
// #define EIO 5           /**< I/O error */
// #define ENXIO 6         /**< No such device or address */
// #define E2BIG 7         /**< Arg list too long */
// #define ENOEXEC 8       /**< Exec format error */
// #define EBADF 9         /**< Bad file number */
// #define ECHILD 10       /**< No children */
// #define EAGAIN 11       /**< No more contexts */
// #define ENOMEM 12       /**< Not enough core */
// #define EACCES 13       /**< Permission denied */
// #define EFAULT 14       /**< Bad address */
// #define ENOTBLK 15      /**< Block device required */
// #define EBUSY 16        /**< Mount device busy */
// #define EEXIST 17       /**< File exists */
// #define EXDEV 18        /**< Cross-device link */
// #define ENODEV 19       /**< No such device */
// #define ENOTDIR 20      /**< Not a directory */
// #define EISDIR 21       /**< Is a directory */
// #define EINVAL 22       /**< Invalid argument */
// #define ENFILE 23       /**< File table overflow */
// #define EMFILE 24       /**< Too many open files */
// #define ENOTTY 25       /**< Not a typewriter */
// #define ETXTBSY 26      /**< Text file busy */
// #define EFBIG 27        /**< File too large */
// #define ENOSPC 28       /**< No space left on device */
// #define ESPIPE 29       /**< Illegal seek */
// #define EROFS 30        /**< Read-only file system */
// #define EMLINK 31       /**< Too many links */
// #define EPIPE 32        /**< Broken pipe */
// #define EDOM 33         /**< Argument too large */
// #define ERANGE 34       /**< Result too large */
// #define ENOMSG 35       /**< Unexpected message type */
// #define EDEADLK 45      /**< Resource deadlock avoided */
// #define ENOLCK 46       /**< No locks available */
// #define ENOSTR 60       /**< STREAMS device required */
// #define ENODATA 61      /**< Missing expected message data */
// #define ETIME 62        /**< STREAMS timeout occurred */
// #define ENOSR 63        /**< Insufficient memory */
// #define EPROTO 71       /**< Generic STREAMS error */
// #define EBADMSG 77      /**< Invalid STREAMS message */
// #define ENOSYS 88       /**< Function not implemented */
// #define ENOTEMPTY 90    /**< Directory not empty */
// #define ENAMETOOLONG 91 /**< File name too long */
// #define ELOOP 92        /**< Too many levels of symbolic links */
// #define EOPNOTSUPP 95   /**< Operation not supported on socket */
// #define EPFNOSUPPORT 96 /**< Protocol family not supported */
// #define ECONNRESET 104   /**< Connection reset by peer */
// #define ENOBUFS 105      /**< No buffer space available */
// #define EAFNOSUPPORT 106 /**< Addr family not supported */
// #define EPROTOTYPE 107   /**< Protocol wrong type for socket */
// #define ENOTSOCK 108     /**< Socket operation on non-socket */
// #define ENOPROTOOPT 109  /**< Protocol not available */
// #define ESHUTDOWN 110    /**< Can't send after socket shutdown */
// #define ECONNREFUSED 111 /**< Connection refused */
// #define EADDRINUSE 112   /**< Address already in use */
// #define ECONNABORTED 113 /**< Software caused connection abort */
// #define ENETUNREACH 114  /**< Network is unreachable */
// #define ENETDOWN 115     /**< Network is down */
// #define ETIMEDOUT 116    /**< Connection timed out */
// #define EHOSTDOWN 117    /**< Host is down */
// #define EHOSTUNREACH 118 /**< No route to host */
// #define EINPROGRESS 119  /**< Operation now in progress */
// #define EALREADY 120     /**< Operation already in progress */
// #define EDESTADDRREQ 121 /**< Destination address required */
// #define EMSGSIZE 122        /**< Message size */
// #define EPROTONOSUPPORT 123 /**< Protocol not supported */
// #define ESOCKTNOSUPPORT 124 /**< Socket type not supported */
// #define EADDRNOTAVAIL 125   /**< Can't assign requested address */
// #define ENETRESET 126       /**< Network dropped connection on reset */
// #define EISCONN 127         /**< Socket is already connected */
// #define ENOTCONN 128        /**< Socket is not connected */
// #define ETOOMANYREFS 129    /**< Too many references: can't splice */
// #define ENOTSUP 134         /**< Unsupported value */
// #define EILSEQ 138          /**< Illegal byte sequence */
// #define EOVERFLOW 139       /**< Value overflow */
// #define ECANCELED 140       /**< Operation canceled */

// #define EWOULDBLOCK EAGAIN /**< Operation would block */

/**
 * @}
 */

#ifdef __cplusplus
}
#endif

#endif
```

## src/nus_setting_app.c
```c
#include <zephyr/kernel.h>
#include <zephyr/settings/settings.h>
#include <zephyr/device.h>
#include <zephyr/devicetree.h>
#include <zephyr/logging/log.h>
#include "nus_setting_app.h"

LOG_MODULE_DECLARE(peripheral_uart);

#define STORAGE_PARTITION	    storage_partition
#define STORAGE_PARTITION_ID	FIXED_PARTITION_ID(STORAGE_PARTITION)

static uint8_t new_mac[6] = {0};
static uint32_t new_baudrate = 0;

static int nus_settings_set(const char *name, size_t len, settings_read_cb read_cb,
					 void *cb_arg)
{
	const char *next;
    int rc = 0;

	LOG_INF("set handler name=%s, len=%d \n", (name), len);
	if (settings_name_steq(name, "mac_address", &next) && !next)
	{
		if (len != sizeof(new_mac))
		{
			return -EINVAL;
		}
		rc = read_cb(cb_arg, new_mac, sizeof(new_mac));
        if(rc >= 0)
        {
             /* key-value pair was properly read. rc contains value length.*/
            LOG_INF("mac: %02X:%02X:%02X:%02X:%02X:%02X\n", new_mac[0], new_mac[1], new_mac[2], new_mac[3], new_mac[4], new_mac[5]);
		    return 0;
        }
	}

    if (settings_name_steq(name, "baudrate", &next) && !next)
	{
		if (len != sizeof(new_baudrate))
		{
			return -EINVAL;
		}
		rc = read_cb(cb_arg, &new_baudrate, sizeof(new_baudrate));
        if(rc >= 0)
        {
             /* key-value pair was properly read. rc contains value length.*/
            LOG_INF("baudrate: %d\n", new_baudrate);
		    return 0;
        }
	}

	return -ENOENT;
}


static int nus_settings_export(int (*storage_func)(const char *name,
    const void *value,
    size_t val_len))
{
    int err = 0;
    err = storage_func("nus/mac_address", new_mac, sizeof(new_mac));
    err += storage_func("nus/baudrate", &new_baudrate, sizeof(new_baudrate));
    return  err;
}

struct settings_handler nus_conf = {
    .name = "nus",
    .h_set = nus_settings_set,
    .h_export = nus_settings_export
};


int save_mac_address(uint8_t *mac, uint8_t len)
{
    int err = 0;

    if(len != sizeof(new_mac))
    {
        return -EINVAL;
    }
    memcpy(new_mac, mac, sizeof(new_mac));
    err = settings_save_one("nus/mac_address", new_mac, sizeof(new_mac));
    if(err)
    {
        LOG_ERR("Failed to save mac address");
    }

    return err;
}

int16_t save_new_baudrate(uint8_t *data, uint8_t len)
{
	int16_t err = 0;
	if(len != sizeof(new_baudrate))
    {
        return -EINVAL;
    }

	new_baudrate = (data[0] << 24) | (data[1] << 16) | (data[2] << 8) | data[3];
	LOG_INF("Baudrate set to: %d", new_baudrate);
	if(new_baudrate < 1200 || new_baudrate > 1000000)
	{
		LOG_WRN("Invalid baudrate value!");
		err = -EINVAL;
	}
	
	err = settings_save_one("nus/baudrate", &new_baudrate, sizeof(new_baudrate));
	return err;
}


uint8_t * get_mac_address(void)
{
    if(settings_load_subtree("nus/mac_address"))
    {
        LOG_ERR("Failed to load nus settings");
        return NULL;
    }
    // LOG_INF("get mac: %02X:%02X:%02X:%02X:%02X:%02X\n", new_mac[0], new_mac[1], new_mac[2], new_mac[3], new_mac[4], new_mac[5]);
    return new_mac;
}

uint32_t get_uart_baudrate(void)
{
	if(settings_load_subtree("nus/baudrate"))
    {
        LOG_ERR("Failed to load nus settings");
        return 9600;
    }
    LOG_INF("get baudrate: %d\n", new_baudrate);

	new_baudrate = ((new_baudrate > 1200 && new_baudrate < 1000000) ? new_baudrate : 9600);
	
    return new_baudrate;
}


void nus_settings_init(void)
{
    settings_subsys_init();
    settings_register(&nus_conf);
}
```

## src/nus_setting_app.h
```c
/*
 * Copyright (c) 2018 Nordic Semiconductor ASA
 *
 * SPDX-License-Identifier: LicenseRef-Nordic-5-Clause
 */

 #ifndef __NUS_SETTING_APP_H_
 #define __NUS_SETTING_APP_H_
 


 int save_mac_address(uint8_t *mac, uint8_t len);

 int16_t save_new_baudrate(uint8_t *data, uint8_t len);

 uint8_t * get_mac_address(void);

 uint32_t get_uart_baudrate(void);

 void nus_settings_init(void);

 #endif
```

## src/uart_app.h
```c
/*
 * Copyright (c) 2018 Nordic Semiconductor ASA
 *
 * SPDX-License-Identifier: LicenseRef-Nordic-5-Clause
 */

#ifndef __UART_APP_H_
#define __UART_APP_H_


#define UART_MAX_PAYLOAD_SIZE       300
#define UART_BUF_SIZE               CONFIG_BT_NUS_UART_BUFFER_SIZE
#define UART_WAIT_FOR_BUF_DELAY     K_MSEC(50)
#define UART_WAIT_FOR_RX            CONFIG_BT_NUS_UART_RX_WAIT_TIME


/** device status bit */
#define STATUS_CONNECTED   (1 << 0)  // bit0:(1) Connected  	(0) Disconnected
#define STATUS_PAIRED      (1 << 1)  // bit1:(1) Paired  		(0) Unpaired
#define STATUS_NUS_READY   (1 << 2)  // bit2:(1) NUS Ready		(0) NUT Not Ready
#define STATUS_ADVERTISING (1 << 3)  // bit3:(1) Advertising 	(0) not advertising
#define STATUS_BONDED      (1 << 4)  // bit4:(1) stored bond 	(0) no bond





/**
 * @brief Types of uart commands
 *
 * This enum defines the types of uart commands that can be sent to the nRF52
 * from the host MCU, some of the commands are used to control the nRF52 BLE 
 * stack, while others are used to control the nRF52 peripherals.
 * Parts of the commands may need a response from the nRF52.
 */
enum uart_cmd_type {
	/** 
     * @brief ping cmd. response with basic state or ERROR.
     * basic state, 8 bits - Bit number:
     * 0: (1) Connected  (0) Disconnected
     * 1: (1) Paired  (0) Unpaired
     * 2: (1) NUS Ready to send/receive data (0) NUT Not Ready
     * 3: (1) Advertising (0) not advertising
     * 4: (1) stored bond (0) no bond
     */
	HOST_UART_PING_CMD = 0x01,
	/**
	 * @brief host set BLE parameter .
	 * response with SUCCESS or ERROR.
	 * 
	 * parameter format:
	 * 1 Byte: Tx power & preferred PHY in connection 
     * 1 Byte: interval (20ms increment)
	 */
    HOST_SET_BLE_PARAMETER_CMD,
	/**
	 * @brief host set the advertisement payload.
     * response with NONE or ERROR.
     * 24 Bbytes: adv payload
	 */
	HOST_SET_ADV_PAYLOAD_CMD,
	/**
	 * @brief host forcefully disconnect the ble connection.
	 * response with SUCCESS or ERROR.
	 */
	HOST_DISCONN_BLE_CMD,
	/**
	 * @brief host set the passkey to nRF5 device to pair.
     * response with SUCCESS or ERROR.
	 */
	HOST_SET_PASSKEY_CMD,
	/**
	 * @brief host set the uart baud rate.
	 * response with SUCCESS or ERROR.
	 */
	HOST_SET_UART_BAUDRATE_CMD,
	/**
	 * @brief host set nRF5 amc address.
	 * response with SUCCESS or ERROR.
	 */
    HOST_SET_BLE_MAC_ADDRESS_CMD,
    /**
	 * @brief host read device information.
	 * response with device information or ERROR.
	 */
    HOST_READ_DEVICE_INFO_CMD,
    /**
	 * @brief host erase ble bond information.
	 * response with SUCCESS or ERROR.
	 */
    HOST_ERASE_BOND_DEVICE_CMD,
    /**
	 * @brief host ask to reset the ble device .
	 * response with SUCCESS or ERROR.
	 */
    HOST_RESET_DEVICE_CMD,
    /**
	 * @brief host read the ble rssi .
	 * response with BLE RSSI or ERROR.
	 */
    HOST_READ_BLE_RSSI_CMD,
	/**
	 * @brief host set the device name .
	 * response with SUCCESS or ERROR.
	 */
    HOST_SET_DEVICE_NAME_CMD,
	/**
	 * @brief host send comamnd to enter transparent mode .
	 * response with SUCCESS or ERROR.
	 */
    HOST_ENTER_TRANSPARENT_MODE_CMD,
	/**
	 * @brief host send comamnd to read out the last paired device's MAC address .
	 * response with last paired MAC address.
	 */
    HOST_READ_PAIRED_INFO_CMD,
	/**
	 * @brief host send comamnd to start/stop advertising .
	 * response with SUCCESS or ERROR.
	 * 
	 * * 1 Byte cmd format:
	 * 1 : start advertising
	 * 0 : stop advertising
	 */
    HOST_CONTROL_ADVERTISE_CMD,
	/**
	 * @brief slave send URC to host .
	 * response with SUCCESS or ERROR.
	 */
    HOST_REPORT_URC_CMD = 0xFE,
	/**
	 * @brief host commands excute failed .
	 * response with SUCCESS or ERROR.
	 */
    HOST_COMMAND_ERROR_CODE_CMD = 0xFF,
	/**
	 * @brief unused cmd, reserved.
	 *
	 */
	HOST_UNUSED_CMD,
};


struct uart_data_t {
	void *fifo_reserved;
	uint8_t data[UART_MAX_PAYLOAD_SIZE];
	uint16_t len;
};


struct uart_cmd_rsp_t {
	enum uart_cmd_type cmd;
	uint16_t len;
    uint8_t data[UART_MAX_PAYLOAD_SIZE];
};


// extern struct k_fifo fifo_uart_tx_data;
extern struct k_fifo fifo_uart_rx_data;

extern struct k_msgq tx_send_queue;

extern bool transparent_flag;

extern int uart_send_data(struct uart_data_t *tx);

extern void uart_buffer_data(struct uart_data_t *tx);

extern void clean_nus_buffer_data(void);

extern void uart_send_URC(uint8_t data, uint16_t len);

extern void set_device_status(uint8_t bitmask, int value);

extern uint8_t get_device_status(void);

// extern void on_packet_nus_data(uint8_t *buffer, uint16_t length);

extern void handle_uart_data(struct uart_data_t *uart_data);

extern int uart_init(void);


#endif
```
